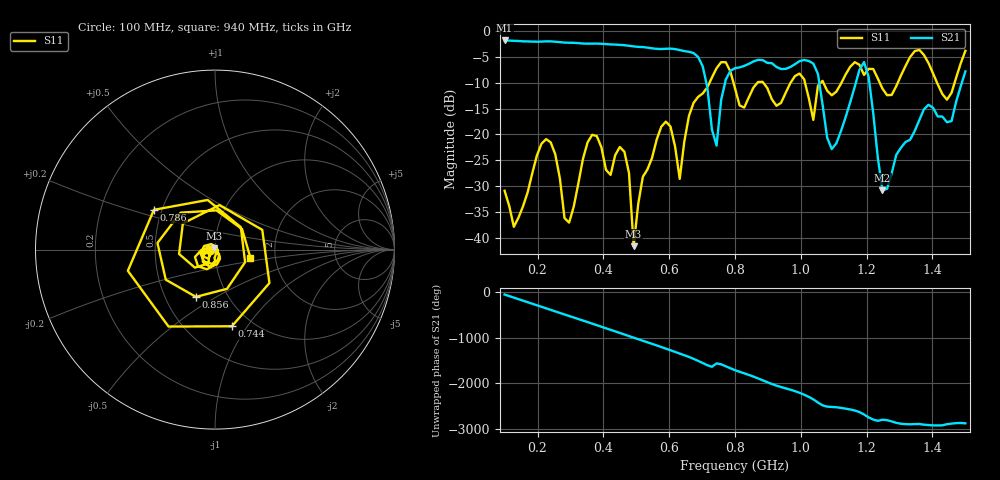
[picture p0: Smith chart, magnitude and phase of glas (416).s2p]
! NanoVNA-App
! Date: 2025-09-25 15:58:43
! Start: 100MHz Stop: 1,5GHz Points: 101
! S-Parameter data: F S11 S21 S12 S22
# Hz S RI R 50
!  Frequency  S11_Real  S11_Imag  S21_Real  S21_Imag  S12_Real  S12_Imag  S22_Real  S22_Imag
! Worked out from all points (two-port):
!   101 points, 100 MHz to 1.5 GHz, reference 50 ohm
!   highest |S21| = -1.80 dB at 100 MHz (marker M1); lowest = -30.9 dB at 1.248 GHz (marker M2)
!   |S21| within 3 dB of the highest: start of sweep to 684.3 MHz
!   lowest |S11| = -41.7 dB at 492 MHz (marker M3), VSWR 1.02, Z = 49.5 + j0.628 ohm
!   |S11| at or under -10 dB: start of sweep to 722.5 MHz; 795.4 MHz to 868.1 MHz (72.77 MHz wide, 8.75 % of centre); 886.1 MHz to 968.9 MHz (82.79 MHz wide, 8.93 % of centre) (the widest 3 of 7)
!   S12 and S22 are empty: the file has one direction only
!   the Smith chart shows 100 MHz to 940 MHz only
!   S11 on the Smith chart (normalised r, x): 100 MHz: 0.95, -0.01; 744 MHz: 0.81, -0.85; 786 MHz: 0.45, +0.24; 856 MHz: 0.71, -0.41; 940 MHz: 1.48, -0.14
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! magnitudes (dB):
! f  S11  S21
! 100 MHz  -30.9  -1.8
! 128 MHz  -37.9  -1.9
! 226 MHz  -20.9  -2.0
! 296 MHz  -37.1  -2.2
! 338 MHz  -24.8  -2.4
! 464 MHz  -23.4  -2.7
! 492 MHz  -41.7  -3.0
! 576 MHz  -18.5  -3.5
! 632 MHz  -28.6  -3.7
! 702 MHz  -12.1  -6.8
! 744 MHz  -7.2  -22.2
! 786 MHz  -7.8  -7.7
! 800 MHz  -11.1  -7.2
! 856 MHz  -10.9  -5.9
! 940 MHz  -13.9  -7.3
! 996 MHz  -8.2  -5.8
! 1.038 GHz  -17.2  -6.3
! 1.094 GHz  -12.4  -22.9
! 1.192 GHz  -8.5  -6.0
! 1.248 GHz  -11.1  -30.9
! 1.276 GHz  -12.4  -27.6
! 1.5 GHz  -3.8  -7.8
